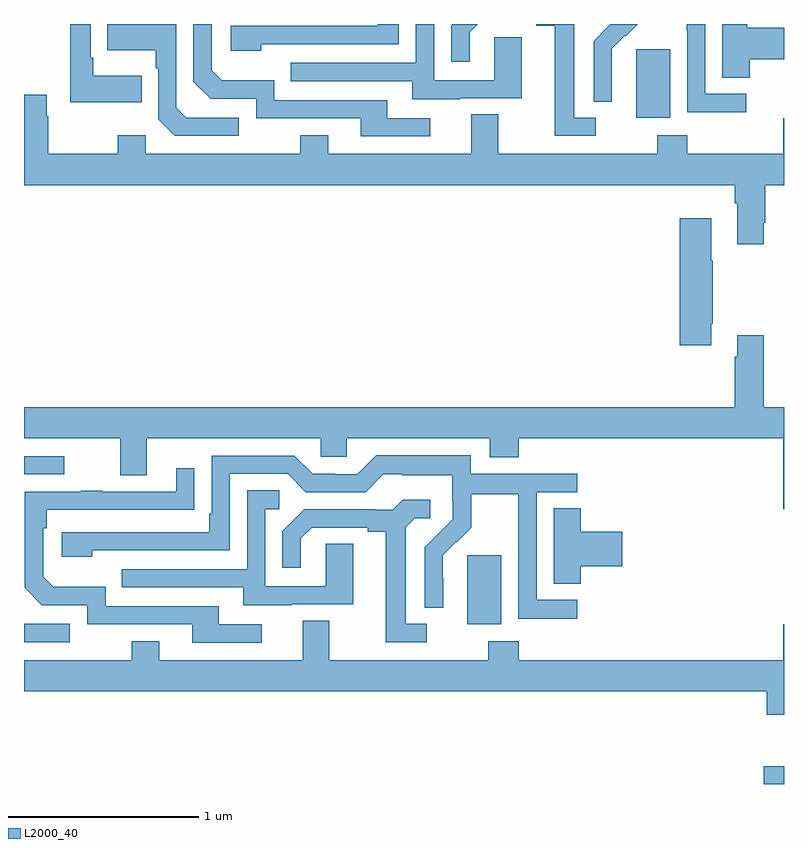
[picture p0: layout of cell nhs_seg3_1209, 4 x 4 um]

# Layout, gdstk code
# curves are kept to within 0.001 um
import gdstk
lib = gdstk.Library(unit=1e-6, precision=1e-09)
def R(c, l, rs):  # rectangles x0, y0, x1, y1
    for r in rs: c.add(gdstk.rectangle(r[:2], r[2:], *l))
def P(c, l, *ps):  # polygons
    for p in ps: c.add(gdstk.Polygon(p, *l))
L2000_40 = (2000, 40)

nhs_seg3_1209 = lib.new_cell('nhs_seg3_1209')
R(nhs_seg3_1209, L2000_40, [(176.894,728.4,177,728.494), (173,729.147,173.242,729.243), (175.334,729.242,175.513,729.603), (173,730.029,173.212,730.125), (176.222,731.906,176.401,732.267)])
P(nhs_seg3_1209, L2000_40, [(175.297,732.009),(175.621,732.009),(175.621,732.329),(175.476,732.329),(175.476,732.105),(175.158,732.105),(175.158,732.4),(175.062,732.4),(175.062,732.195),(174.403,732.195),(174.403,732.099),(175.043,732.099),(175.043,732.005),(175.297,732.005)],
  [(174.13,731.907),(173.853,731.907),(173.802,731.958),(173.802,732.4),(173.437,732.4),(173.437,732.263),(173.694,732.263),(173.694,732.167),(173.706,732.167),(173.706,731.898),(173.793,731.811),(174.13,731.811)],
  [(175.138,731.904),(174.913,731.904),(174.913,732),(174.318,732),(174.318,732.103),(174.041,732.103),(173.988,732.156),(173.988,732.4),(173.892,732.4),(173.892,732.096),(173.982,732.006),(174.222,732.006),(174.222,731.904),(174.773,731.904),(174.773,731.808),(175.138,731.808)],
  [(173.621,732.127),(173.365,732.127),(173.365,732.223),(173.352,732.223),(173.352,732.4),(173.244,732.4),(173.244,731.987),(173.621,731.987)],
  [(176.819,732.214),(177,732.214),(177,732.379),(176.806,732.379),(176.806,732.4),(176.675,732.4),(176.675,732.118),(176.819,732.118)],
  [(176.8,732.033),(176.586,732.033),(176.586,732.4),(176.488,732.4),(176.488,732.364),(176.49,732.364),(176.49,731.935),(176.8,731.935)],
  [(176.094,732.146),(176.093,732.146),(176.093,732.269),(176.163,732.339),(176.166,732.336),(176.23,732.4),(176.086,732.4),(176.07,732.384),(176.071,732.383),(175.998,732.31),(175.998,731.992),(176.094,731.992)],
  [(175.345,732.357),(175.388,732.4),(175.254,732.4),(175.248,732.394),(175.248,732.201),(175.345,732.201)],
  [(176.008,731.907),(175.897,731.907),(175.897,732.4),(175.697,732.4),(175.697,732.392),(175.793,732.392),(175.793,731.811),(176.008,731.811)],
  [(174.248,732.294),(174.972,732.294),(174.972,732.4),(174.863,732.4),(174.863,732.39),(174.087,732.39),(174.087,732.26),(174.248,732.26)],
  [(176.893,731.353),(176.901,731.353),(176.901,731.552),(177,731.552),(177,731.905),(176.996,731.905),(176.996,731.716),(176.492,731.716),(176.492,731.815),(176.332,731.815),(176.332,731.716),(175.495,731.716),(175.495,731.924),(175.355,731.924),(175.355,731.716),(174.601,731.716),(174.601,731.815),(174.454,731.815),(174.454,731.716),(173.64,731.716),(173.64,731.815),(173.494,731.815),(173.494,731.716),(173.127,731.716),(173.127,731.915),(173.119,731.915),(173.119,732.028),(173,732.028),(173,731.552),(176.741,731.552),(176.741,731.456),(176.753,731.456),(176.753,731.241),(176.893,731.241)],
  [(176.617,730.822),(176.625,730.822),(176.625,731.153),(176.617,731.153),(176.617,731.377),(176.45,731.377),(176.45,730.71),(176.617,730.71)],
  [(177,730.384),(176.893,730.384),(176.893,730.762),(176.753,730.762),(176.753,730.649),(176.741,730.649),(176.741,730.384),(173,730.384),(173,730.22),(173.507,730.22),(173.507,730.026),(173.647,730.026),(173.647,730.22),(174.561,730.22),(174.561,730.122),(174.699,730.122),(174.699,730.22),(175.451,730.22),(175.451,730.121),(175.604,730.121),(175.604,730.22),(176.996,730.22),(176.996,729.846),(177,729.846)],
  [(175.912,729.369),(175.698,729.369),(175.698,729.936),(175.912,729.936),(175.912,730.032),(175.35,730.032),(175.35,730.129),(174.853,730.129),(174.753,730.029),(174.638,730.029),(174.638,730.032),(174.519,730.032),(174.423,730.128),(173.988,730.128),(173.988,729.823),(173.975,729.823),(173.975,729.726),(173.199,729.726),(173.199,729.596),(173.36,729.596),(173.36,729.63),(174.084,729.63),(174.084,730.032),(174.387,730.032),(174.483,729.936),(174.798,729.936),(174.891,730.029),(174.991,730.029),(174.991,730.025),(175.254,730.025),(175.254,729.891),(175.256,729.891),(175.256,729.794),(175.11,729.646),(175.11,729.328),(175.206,729.328),(175.205,729.605),(175.275,729.675),(175.278,729.672),(175.355,729.749),(175.355,729.924),(175.6,729.924),(175.6,729.7),(175.602,729.7),(175.602,729.271),(175.912,729.271)],
  [(174.25,729.24),(174.025,729.24),(174.025,729.336),(173.43,729.336),(173.43,729.439),(173.153,729.439),(173.1,729.492),(173.1,729.746),(173.12,729.746),(173.12,729.843),(173.897,729.844),(173.897,730.063),(173.801,730.063),(173.801,729.939),(173.411,729.939),(173.411,729.944),(173.299,729.944),(173.299,729.939),(173.004,729.939),(173.004,729.432),(173.094,729.342),(173.334,729.342),(173.334,729.24),(173.885,729.24),(173.885,729.144),(174.25,729.144)],
  [(174.409,729.345),(174.733,729.345),(174.733,729.665),(174.588,729.665),(174.588,729.441),(174.27,729.441),(174.27,729.846),(174.343,729.846),(174.343,729.947),(174.174,729.947),(174.174,729.531),(173.515,729.531),(173.515,729.435),(174.155,729.435),(174.155,729.341),(174.409,729.341)],
  [(175.12,729.243),(175.009,729.243),(175.009,729.751),(175.056,729.798),(175.138,729.798),(175.138,729.895),(174.994,729.895),(174.942,729.843),(174.848,729.843),(174.848,729.846),(174.476,729.846),(174.36,729.73),(174.36,729.537),(174.457,729.537),(174.457,729.693),(174.514,729.75),(174.809,729.75),(174.809,729.728),(174.905,729.728),(174.905,729.147),(175.12,729.147)],
  [(175.931,729.545),(176.149,729.545),(176.149,729.728),(175.931,729.728),(175.931,729.851),(175.787,729.851),(175.787,729.454),(175.931,729.454)],
  [(177,729.241),(176.996,729.241),(176.996,729.052),(175.604,729.052),(175.604,729.151),(175.444,729.151),(175.444,729.052),(174.607,729.052),(174.607,729.26),(174.467,729.26),(174.467,729.052),(173.713,729.052),(173.713,729.151),(173.566,729.151),(173.566,729.052),(173,729.052),(173,728.888),(176.909,728.888),(176.909,728.764),(177,728.764)])

lib.write_gds('nhs_seg3_1209.gds')
